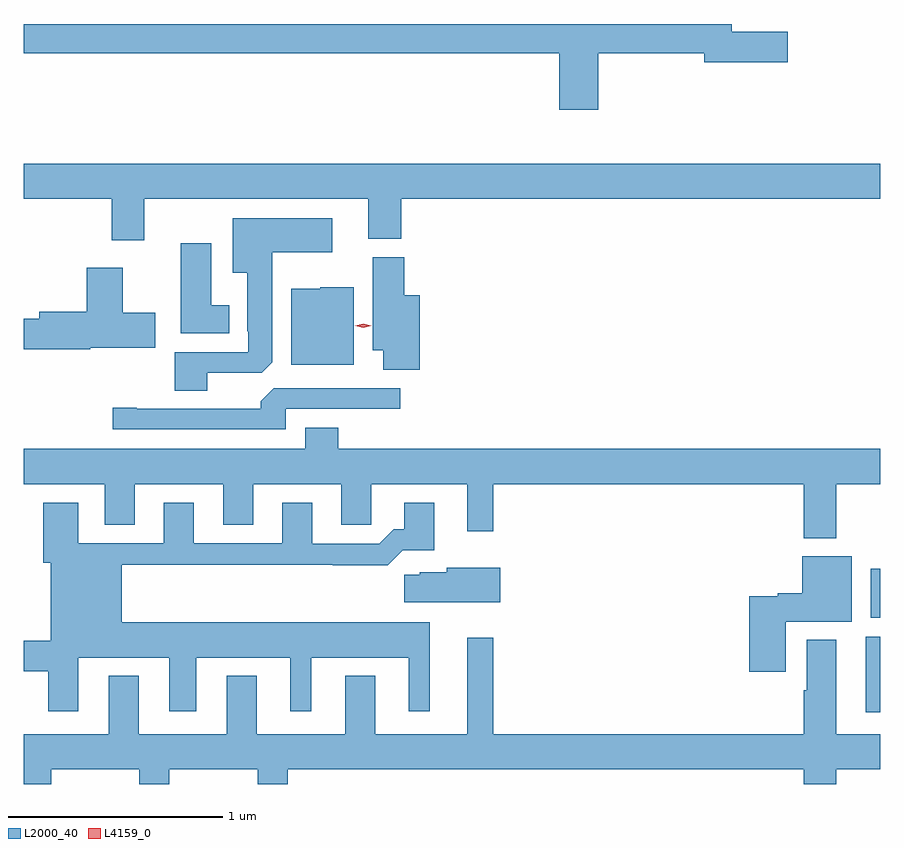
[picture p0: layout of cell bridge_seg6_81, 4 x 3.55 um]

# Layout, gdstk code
import gdstk
lib = gdstk.Library(unit=1e-6, precision=1e-09)
def R(c, l, rs):  # rectangles x0, y0, x1, y1
    for r in rs: c.add(gdstk.rectangle(r[:2], r[2:], *l))
def P(c, l, *ps):  # polygons
    for p in ps: c.add(gdstk.Polygon(p, *l))
L2000_40 = (2000, 40)
L4159_0 = (4159, 0)

bridge_seg6_81 = lib.new_cell('bridge_seg6_81')
R(bridge_seg6_81, L2000_40, [(733.307,980.904,733.376,981.256), (733.331,981.344,733.376,981.574)])
P(bridge_seg6_81, L2000_40, [(732.059,983.98),(732.554,983.98),(732.554,983.938),(732.943,983.938),(732.943,984.08),(732.682,984.08),(732.682,984.116),(729.376,984.116),(729.376,983.98),(731.876,983.98),(731.876,983.715),(732.059,983.715)],
  [(729.94,983.3),(730.985,983.3),(730.985,983.113),(731.138,983.113),(731.138,983.3),(733.376,983.3),(733.376,983.464),(729.376,983.464),(729.376,983.3),(729.788,983.3),(729.788,983.106),(729.94,983.106)],
  [(730.234,982.488),(730.488,982.488),(730.537,982.537),(730.537,983.051),(730.816,983.051),(730.816,983.209),(730.352,983.209),(730.352,982.955),(730.421,982.955),(730.421,982.681),(730.425,982.681),(730.425,982.584),(730.082,982.584),(730.082,982.405),(730.234,982.405)],
  [(730.336,982.804),(730.252,982.804),(730.252,983.092),(730.109,983.092),(730.109,982.673),(730.336,982.673)],
  [(731.225,982.849),(731.153,982.849),(731.153,983.028),(731.006,983.028),(731.006,982.592),(731.054,982.592),(731.054,982.501),(731.225,982.501)],
  [(729.687,982.604),(729.991,982.604),(729.991,982.767),(729.838,982.767),(729.838,982.978),(729.671,982.978),(729.671,982.772),(729.449,982.772),(729.449,982.739),(729.376,982.739),(729.376,982.597),(729.687,982.597)],
  [(730.918,982.888),(730.761,982.888),(730.761,982.879),(730.625,982.879),(730.625,982.526),(730.918,982.526)],
  [(730.599,982.32),(731.134,982.32),(731.134,982.416),(730.545,982.416),(730.484,982.354),(730.484,982.32),(729.904,982.32),(729.904,982.325),(729.792,982.325),(729.792,982.224),(730.599,982.224)],
  [(733.171,981.968),(733.376,981.968),(733.376,982.132),(730.844,982.132),(730.844,982.231),(730.691,982.231),(730.691,982.132),(729.376,982.132),(729.376,981.968),(729.755,981.968),(729.755,981.778),(729.895,981.778),(729.895,981.968),(730.307,981.968),(730.307,981.778),(730.447,981.778),(730.447,981.968),(730.859,981.968),(730.859,981.778),(730.998,981.778),(730.998,981.968),(731.447,981.968),(731.447,981.747),(731.569,981.747),(731.569,981.968),(733.019,981.968),(733.019,981.716),(733.171,981.716)],
  [(729.631,981.158),(730.055,981.158),(730.055,980.907),(730.183,980.907),(730.183,981.158),(730.622,981.158),(730.622,980.907),(730.72,980.907),(730.72,981.158),(731.174,981.158),(731.174,980.907),(731.272,980.907),(731.272,981.322),(729.835,981.322),(729.835,981.592),(730.819,981.592),(730.819,981.59),(731.075,981.59),(731.145,981.66),(731.293,981.66),(731.293,981.88),(731.153,981.88),(731.153,981.757),(731.104,981.757),(731.037,981.69),(730.723,981.69),(730.723,981.88),(730.583,981.88),(730.583,981.693),(730.171,981.693),(730.171,981.88),(730.031,981.88),(730.031,981.693),(729.631,981.693),(729.631,981.88),(729.467,981.88),(729.467,981.6),(729.503,981.6),(729.503,981.236),(729.376,981.236),(729.376,981.094),(729.491,981.094),(729.491,980.907),(729.631,980.907)],
  [(732.934,981.326),(733.243,981.326),(733.243,981.631),(733.01,981.631),(733.01,981.458),(732.897,981.458),(732.897,981.445),(732.764,981.445),(732.764,981.093),(732.934,981.093)],
  [(731.602,981.577),(731.352,981.577),(731.352,981.556),(731.226,981.556),(731.226,981.545),(731.154,981.545),(731.154,981.416),(731.602,981.416)],
  [(729.505,980.636),(729.917,980.636),(729.917,980.568),(730.057,980.568),(730.057,980.636),(730.469,980.636),(730.469,980.568),(730.609,980.568),(730.609,980.636),(733.019,980.636),(733.019,980.568),(733.171,980.568),(733.171,980.636),(733.376,980.636),(733.376,980.8),(733.171,980.8),(733.171,981.241),(733.031,981.241),(733.031,981.005),(733.019,981.005),(733.019,980.8),(731.569,980.8),(731.569,981.25),(731.447,981.25),(731.447,980.8),(731.017,980.8),(731.017,981.073),(730.877,981.073),(730.877,980.8),(730.465,980.8),(730.465,981.073),(730.325,981.073),(730.325,980.8),(729.913,980.8),(729.913,981.073),(729.773,981.073),(729.773,980.8),(729.376,980.8),(729.376,980.568),(729.505,980.568)])
P(bridge_seg6_81, L4159_0, [(730.962,982.697),(730.925,982.707),(730.925,982.707),(730.925,982.707),(730.962,982.717),(730.999,982.707),(730.999,982.707),(730.999,982.707)])

lib.write_gds('bridge_seg6_81.gds')
